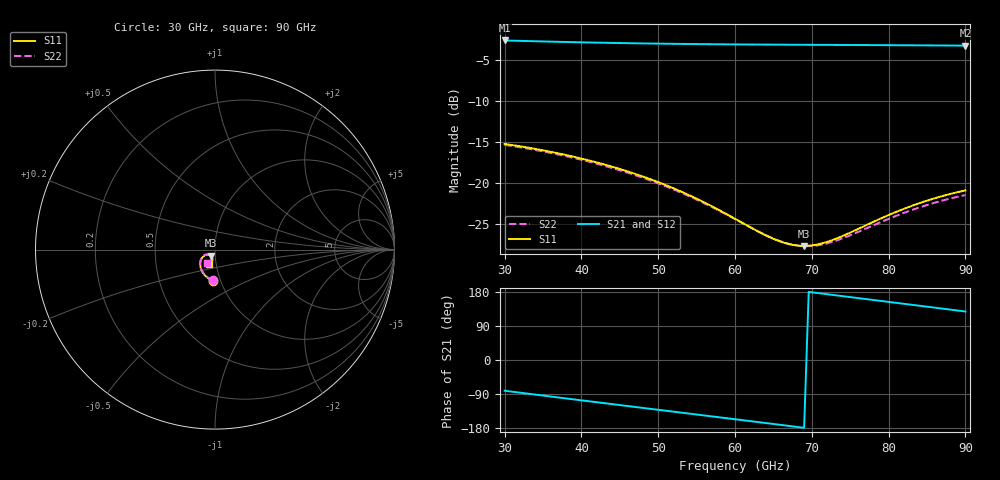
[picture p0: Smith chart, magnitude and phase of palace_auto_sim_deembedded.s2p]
! Created with skrf 1.11.0 (http://scikit-rf.org).
# GHz S DB R 50.0
!freq dBS11 angS11 dBS21 angS21 dBS12 angS12 dBS22 angS22
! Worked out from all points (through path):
!   101 points, 30 GHz to 90 GHz, reference 50 ohm
!   highest |S21| = -2.60 dB at 30 GHz (marker M1); lowest = -3.2 dB at 90 GHz (marker M2)
!   group delay of S21, straight-line fit = 6.97 ps
!   lowest |S11| = -27.7 dB at 69 GHz (marker M3), VSWR 1.09, Z = 47.5 - j3.18 ohm
!   |S11| at or under -10 dB: start of sweep to end of sweep
!   |S22| runs from -27.7 to -15.3 dB; largest |S21 - S12| = 8.1e-14
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30  -15.23 -93.7  -2.60 -81.1  -2.60 -81.1  -15.34 -94.2
32.4  -15.58 -100.6  -2.66 -87.2  -2.66 -87.2  -15.70 -101.1
34.8  -15.97 -107.2  -2.72 -93.3  -2.72 -93.3  -16.11 -107.8
37.2  -16.42 -113.5  -2.77 -99.4  -2.77 -99.4  -16.56 -114.3
40.2  -17.06 -121.1  -2.83 -106.9  -2.83 -106.9  -17.21 -122.0
45  -18.28 -132.2  -2.92 -118.9  -2.92 -118.9  -18.44 -133.3
47.4  -19.01 -137.2  -2.95 -124.9  -2.95 -124.9  -19.16 -138.3
50.4  -20.04 -142.6  -2.99 -132.4  -2.99 -132.4  -20.18 -144.0
55.2  -22.00 -148.8  -3.04 -144.3  -3.04 -144.3  -22.11 -150.5
57.6  -23.14 -150.2  -3.06 -150.3  -3.06 -150.3  -23.22 -152.2
60  -24.36 -149.9  -3.08 -156.3  -3.08 -156.3  -24.40 -152.2
63.6  -26.19 -144.8  -3.10 -165.3  -3.10 -165.3  -26.17 -148.0
65.4  -26.96 -139.9  -3.11 -169.8  -3.11 -169.8  -26.92 -143.7
67.2  -27.49 -133.3  -3.12 -174.4  -3.12 -174.4  -27.46 -137.9
69  -27.67 -126.0  -3.13 -178.9  -3.13 -178.9  -27.70 -131.3
70.2  -27.59 -121.1  -3.13 178.1  -3.13 178.1  -27.67 -126.9
72  -27.18 -114.6  -3.14 173.6  -3.14 173.6  -27.36 -120.8
73.8  -26.55 -109.6  -3.15 169.0  -3.15 169.0  -26.82 -116.0
76.8  -25.26 -104.8  -3.16 161.4  -3.16 161.4  -25.65 -111.1
80.4  -23.75 -103.7  -3.18 152.3  -3.18 152.3  -24.22 -110.0
85.2  -22.09 -107.1  -3.20 140.2  -3.20 140.2  -22.62 -113.3
90  -20.90 -113.4  -3.23 128.0  -3.23 128.0  -21.46 -119.7
